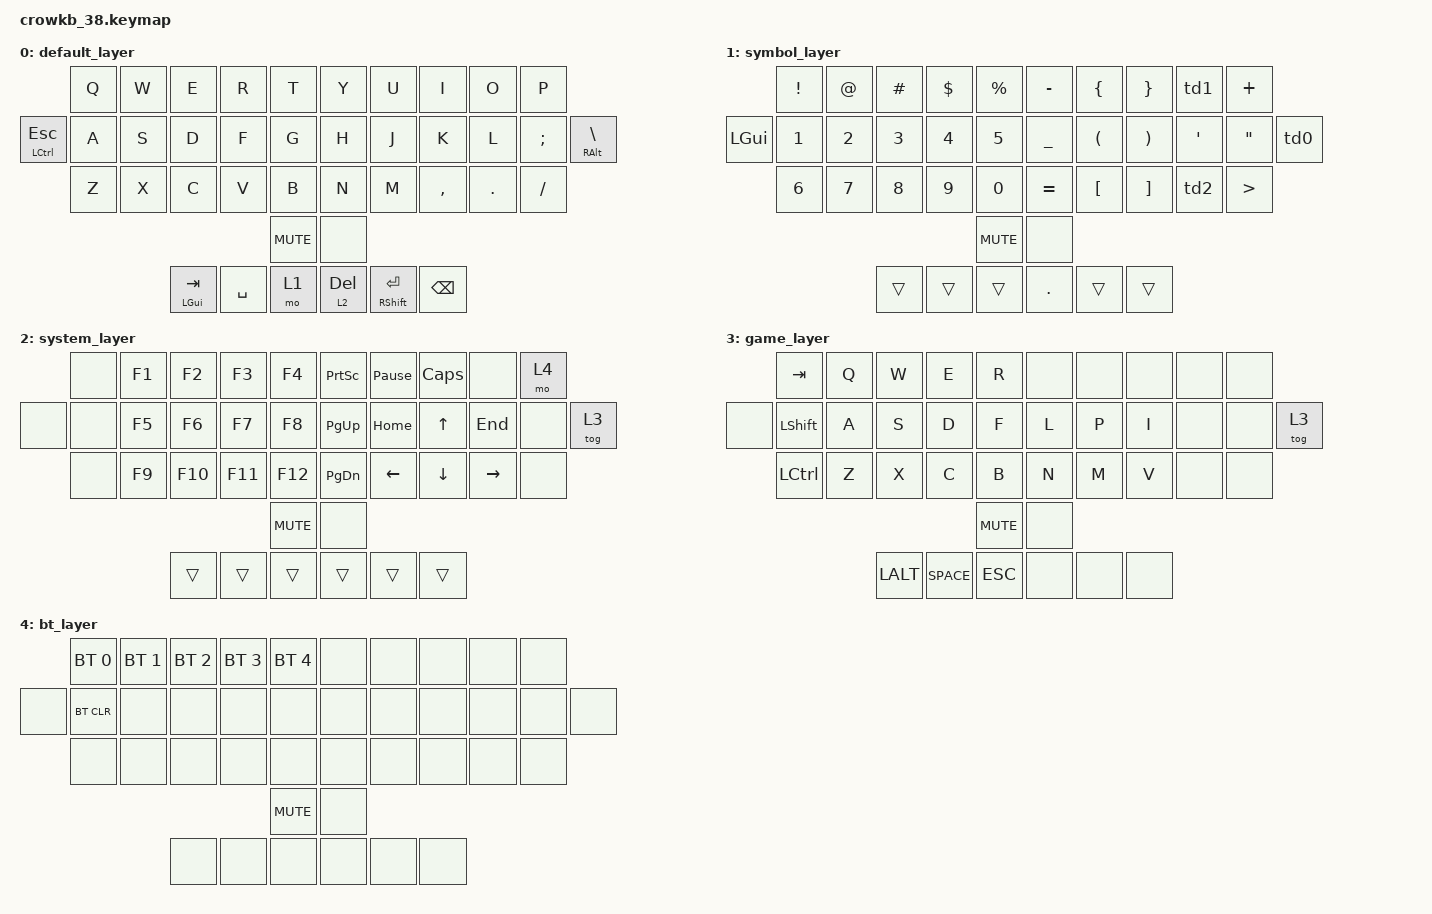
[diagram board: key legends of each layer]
#include <behaviors.dtsi>
#include <dt-bindings/zmk/keys.h>
#include <dt-bindings/zmk/bt.h>

 
#define DEFAULT 0
#define NERPS   1
#define SYMNUM  2
#define SYSTEM  3
#define GAME    4
#define BT      5

/ {
    behaviors {
        td0: tap_dance_0 {
            compatible = "zmk,behavior-tap-dance";
            #binding-cells = <0>;
            tapping-term-ms = <200>;
            bindings = <&kp GRAVE>, <&kp TILDE>;
        };
        td1: tap_dance_1 {
            compatible = "zmk,behavior-tap-dance";
            #binding-cells = <0>;
            tapping-term-ms = <200>;
            bindings = <&kp STAR>, <&kp AMPS>;
        };
        td2: tap_dance_2 {
            compatible = "zmk,behavior-tap-dance";
            #binding-cells = <0>;
            tapping-term-ms = <200>;
            bindings = <&kp LT>, <&kp CARET>;
        };
    };

    keymap {
        compatible = "zmk,keymap";

        default_layer {
            bindings = <
                    &kp Q   &kp W       &kp E           &kp R       &kp T       &kp Y       &kp U           &kp I       &kp O   &kp P
    &mt LCTRL ESC   &kp A   &kp S       &kp D           &kp F       &kp G       &kp H       &kp J           &kp K       &kp L   &kp SEMI    &mt RALT BSLH
                    &kp Z   &kp X       &kp C           &kp V       &kp B       &kp N       &kp M           &kp COMMA   &kp DOT &kp FSLH
                                                                    &kp C_MUTE  &none
                                        &mt LGUI TAB    &kp SPACE   &mo 1       &lt 2 DEL   &mt RSHFT RET   &kp BSPC
            >;
//            sensor-bindings = <&inc_dec_kp C_VOL_UP C_VOL_DN &inc_dec_kp K_SCROLL_UP K_SCROLL_DOWN>;
        };    
        symbol_layer {
            bindings = <
                &kp EXCL    &kp AT  &kp HASH    &kp DLLR    &kp PRCNT   &kp MINUS   &kp LBRC    &kp RBRC    &td1        &kp PLUS
    &kp LGUI    &kp N1      &kp N2  &kp N3      &kp N4      &kp N5      &kp UNDER   &kp LPAR    &kp RPAR    &kp SQT     &kp DQT   &td0
                &kp N6      &kp N7  &kp N8      &kp N9      &kp N0      &kp EQUAL   &kp LBKT    &kp RBKT    &td2        &kp GT
                                                            &kp C_MUTE  &none
                                    &trans      &trans      &trans      &kp DOT     &trans      &trans
            >;
//            sensor-bindings = <&inc_dec_kp C_VOL_UP C_VOL_DN &inc_dec_kp K_SCROLL_UP K_SCROLL_DOWN>;
        };
        system_layer {
            bindings = <
            &none   &kp F1  &kp F2  &kp F3  &kp F4      &kp PSCRN   &kp PAUSE_BREAK &kp CAPS    &none       &mo 4
    &none   &none   &kp F5  &kp F6  &kp F7  &kp F8      &kp PG_UP   &kp HOME        &kp UP      &kp END     &none   &tog 3
            &none   &kp F9  &kp F10 &kp F11 &kp F12     &kp PG_DN   &kp LEFT        &kp DOWN    &kp RIGHT   &none
                                            &kp C_MUTE  &none
                            &trans  &trans  &trans      &trans      &trans          &trans
            >;
//            sensor-bindings = <&inc_dec_kp C_AC_ZOOM_IN C_AC_ZOOM_OUT &inc_dec_kp K_SCROLL_UP K_SCROLL_DOWN>;
        };
        game_layer {
            bindings = <
                &kp TAB     &kp Q   &kp W   &kp E   &kp R       &none   &none   &none   &none   &none
    &none       &kp LSHFT   &kp A   &kp S   &kp D   &kp F       &kp L   &kp P   &kp I   &none   &none   &tog 3
                &kp LCTRL   &kp Z   &kp X   &kp C   &kp B       &kp N   &kp M   &kp V   &none   &none
                                                    &kp C_MUTE  &none
                                    &LALT   &SPACE  &ESC        &none   &none   &none
            >;
//            sensor-bindings = <&inc_dec_kp C_VOL_UP C_VOL_DN &inc_dec_kp K_SCROLL_UP K_SCROLL_DOWN>; 
        };
        bt_layer {
            bindings = <
                &bt BT_SEL 0 &bt BT_SEL 1 &bt BT_SEL 2 &bt BT_SEL 3 &bt BT_SEL 4    &none   &none   &none   &none   &none
    &none       &bt BT_CLR   &none        &none        &none        &none           &none   &none   &none   &none   &none   &none
                &none        &none        &none        &none        &none           &none   &none   &none   &none   &none
                                                                    &kp C_MUTE      &none
                                          &none        &none        &none           &none   &none   &none
            >;
//            sensor-bindings = <&inc_dec_kp C_VOL_UP C_VOL_DN &inc_dec_kp K_SCROLL_UP K_SCROLL_DOWN>;
        };
    };
}; 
